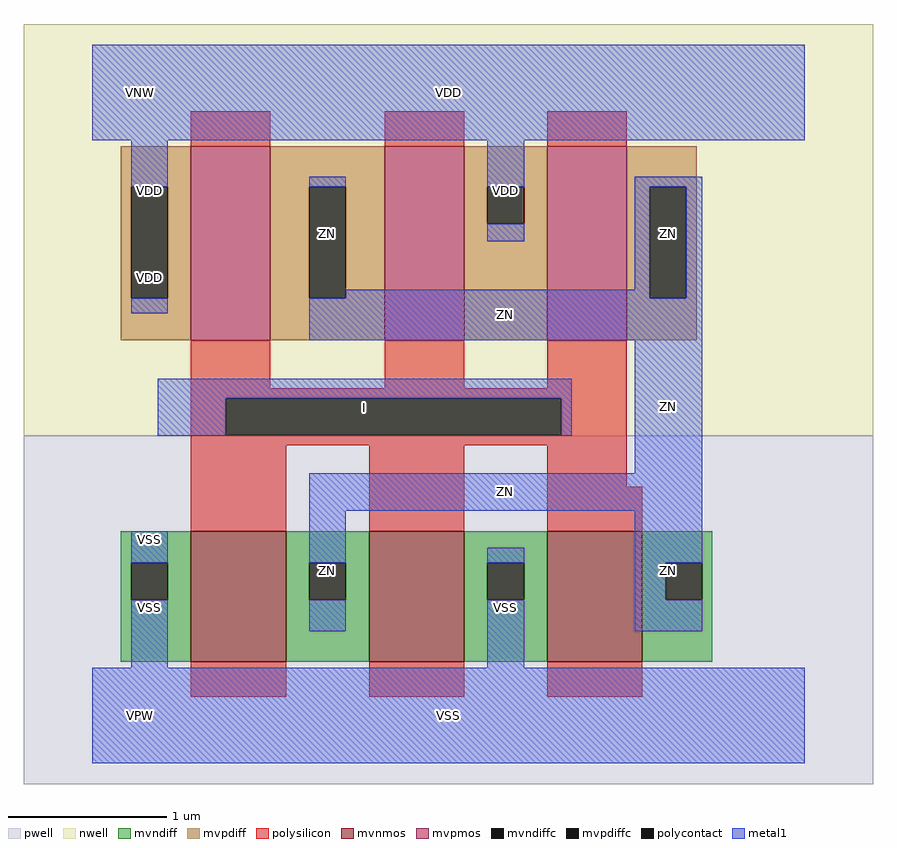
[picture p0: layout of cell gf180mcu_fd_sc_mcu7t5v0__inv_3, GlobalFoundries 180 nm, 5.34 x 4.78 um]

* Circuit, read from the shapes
.subckt gf180mcu_fd_sc_mcu7t5v0__inv_3 I ZN VDD VNW VPW VSS
XM1 ZN I VSS VPW nfet_06v0 w=0.82u l=0.6u m=3
XM2 ZN I VDD VNW pfet_06v0 w=1.22u l=0.5u m=3
.ends

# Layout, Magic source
magic
tech gf180mcuD
magscale 1 10
<< nwell >>
rect -86 352 982 870
<< pwell >>
rect -86 -86 982 352
<< mvnmos >>
rect 124 68 244 232
rect 348 68 468 232
rect 572 68 692 232
<< mvpmos >>
rect 124 472 224 716
rect 368 472 468 716
rect 572 472 672 716
<< mvndiff >>
rect 36 192 124 232
rect 36 146 49 192
rect 95 146 124 192
rect 36 68 124 146
rect 244 192 348 232
rect 244 146 273 192
rect 319 146 348 192
rect 244 68 348 146
rect 468 192 572 232
rect 468 146 497 192
rect 543 146 572 192
rect 468 68 572 146
rect 692 192 780 232
rect 692 146 721 192
rect 767 146 780 192
rect 692 68 780 146
<< mvpdiff >>
rect 36 665 124 716
rect 36 525 49 665
rect 95 525 124 665
rect 36 472 124 525
rect 224 665 368 716
rect 224 525 273 665
rect 319 525 368 665
rect 224 472 368 525
rect 468 665 572 716
rect 468 619 497 665
rect 543 619 572 665
rect 468 472 572 619
rect 672 665 760 716
rect 672 525 701 665
rect 747 525 760 665
rect 672 472 760 525
<< mvndiffc >>
rect 49 146 95 192
rect 273 146 319 192
rect 497 146 543 192
rect 721 146 767 192
<< mvpdiffc >>
rect 49 525 95 665
rect 273 525 319 665
rect 497 619 543 665
rect 701 525 747 665
<< polysilicon >>
rect 124 716 224 760
rect 368 716 468 760
rect 572 716 672 760
rect 124 412 224 472
rect 368 412 468 472
rect 572 412 672 472
rect 124 399 672 412
rect 124 353 168 399
rect 590 353 672 399
rect 124 340 672 353
rect 124 232 244 340
rect 348 232 468 340
rect 572 288 672 340
rect 572 232 692 288
rect 124 24 244 68
rect 348 24 468 68
rect 572 24 692 68
<< polycontact >>
rect 168 353 590 399
<< metal1 >>
rect 0 724 896 844
rect 49 665 95 724
rect 49 506 95 525
rect 273 665 319 678
rect 497 665 543 724
rect 497 597 543 619
rect 682 665 767 678
rect 682 536 701 665
rect 319 525 701 536
rect 747 525 767 665
rect 273 472 767 525
rect 82 399 603 424
rect 82 353 168 399
rect 590 353 603 399
rect 82 352 603 353
rect 682 305 767 472
rect 273 258 767 305
rect 49 192 95 232
rect 49 60 95 146
rect 273 192 319 258
rect 273 106 319 146
rect 497 192 543 211
rect 497 60 543 146
rect 682 192 767 258
rect 682 146 721 192
rect 682 106 767 146
rect 0 -60 896 60
<< labels >>
flabel metal1 s 49 211 95 232 0 FreeSans 400 0 0 0 VSS
port 6 nsew ground bidirectional abutment
flabel metal1 s 682 536 767 678 0 FreeSans 400 0 0 0 ZN
port 2 nsew default output
flabel metal1 s 82 352 603 424 0 FreeSans 400 0 0 0 I
port 1 nsew default input
flabel metal1 s 0 724 896 844 0 FreeSans 400 0 0 0 VDD
port 3 nsew power bidirectional abutment
flabel nwell s 10 734 110 834 0 FreeSans 400 0 0 0 VNW
port 4 nsew power bidirectional
flabel pwell s 10 -50 110 50 0 FreeSans 400 0 0 0 VPW
port 5 nsew ground bidirectional
rlabel metal1 s 273 536 319 678 1 ZN
port 2 nsew default output
rlabel metal1 s 273 472 767 536 1 ZN
port 2 nsew default output
rlabel metal1 s 682 305 767 472 1 ZN
port 2 nsew default output
rlabel metal1 s 273 258 767 305 1 ZN
port 2 nsew default output
rlabel metal1 s 682 106 767 258 1 ZN
port 2 nsew default output
rlabel metal1 s 273 106 319 258 1 ZN
port 2 nsew default output
rlabel metal1 s 497 597 543 724 1 VDD
port 3 nsew power bidirectional abutment
rlabel metal1 s 49 597 95 724 1 VDD
port 3 nsew power bidirectional abutment
rlabel metal1 s 49 506 95 597 1 VDD
port 3 nsew power bidirectional abutment
rlabel metal1 s 497 60 543 211 1 VSS
port 6 nsew ground bidirectional abutment
rlabel metal1 s 49 60 95 211 1 VSS
port 6 nsew ground bidirectional abutment
rlabel metal1 s 0 -60 896 60 1 VSS
port 6 nsew ground bidirectional abutment
<< properties >>
string FIXED_BBOX 0 0 896 784
string GDS_END 482016
string GDS_FILE $PDKPATH/libs.ref/gf180mcu_fd_sc_mcu7t5v0/gds/gf180mcu_fd_sc_mcu7t5v0.gds
string GDS_START 479020
string LEFclass core
string LEFsite GF018hv5v_mcu_sc7
string LEFsymmetry X Y
<< end >>
